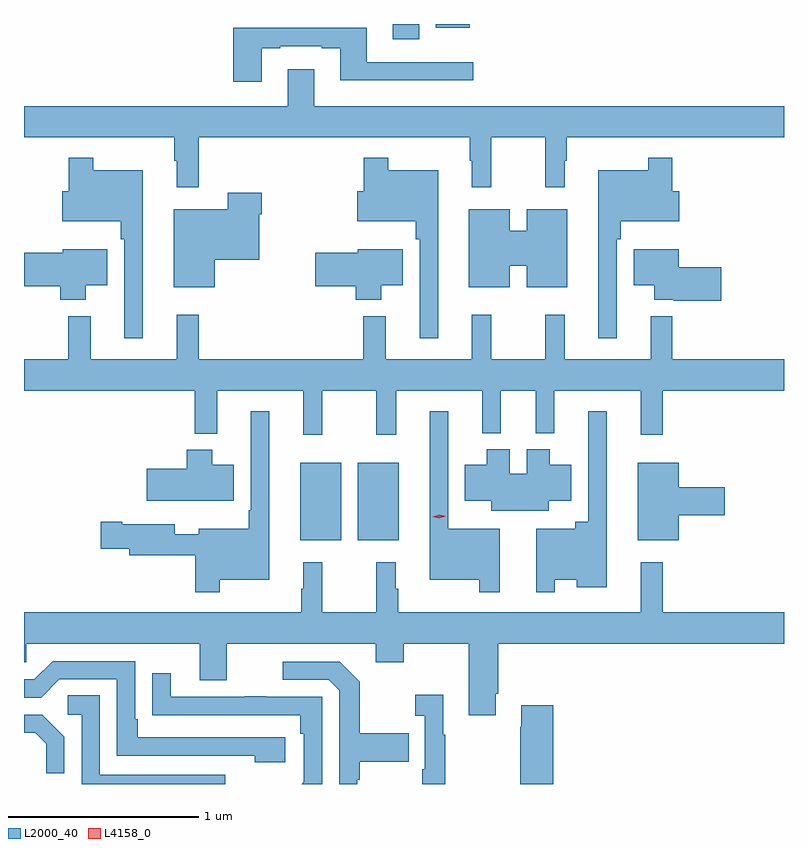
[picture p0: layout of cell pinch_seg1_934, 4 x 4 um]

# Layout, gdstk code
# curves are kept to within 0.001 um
import gdstk
lib = gdstk.Library(unit=1e-6, precision=1e-09)
def R(c, l, rs):  # rectangles x0, y0, x1, y1
    for r in rs: c.add(gdstk.rectangle(r[:2], r[2:], *l))
def P(c, l, *ps):  # polygons
    for p in ps: c.add(gdstk.Polygon(p, *l))
L2000_40 = (2000, 40)
L4158_0 = (4158, 0)

pinch_seg1_934 = lib.new_cell('pinch_seg1_934')
R(pinch_seg1_934, L2000_40, [(161.723,570.923,161.938,571.333), (162.026,570.923,162.241,571.333), (162.209,573.561,162.349,573.641), (162.437,573.62,162.616,573.641)])
P(pinch_seg1_934, L2000_40, [(161.521,573.513),(161.617,573.513),(161.617,573.525),(161.837,573.525),(161.837,573.513),(161.933,573.513),(161.933,573.344),(162.634,573.344),(162.634,573.441),(162.073,573.441),(162.073,573.622),(161.369,573.622),(161.369,573.336),(161.521,573.336)],
  [(161.189,573.044),(162.615,573.044),(162.615,572.921),(162.626,572.921),(162.626,572.781),(162.728,572.781),(162.728,573.044),(163.012,573.044),(163.012,572.781),(163.114,572.781),(163.114,572.921),(163.126,572.921),(163.126,573.044),(164.269,573.044),(164.269,573.208),(161.797,573.208),(161.797,573.403),(161.657,573.403),(161.657,573.208),(160.269,573.208),(160.269,573.044),(161.061,573.044),(161.061,572.921),(161.072,572.921),(161.072,572.781),(161.189,572.781)],
  [(160.894,572.872),(160.633,572.872),(160.633,572.938),(160.504,572.938),(160.504,572.761),(160.47,572.761),(160.47,572.603),(160.777,572.603),(160.777,572.507),(160.797,572.507),(160.797,571.986),(160.894,571.986)],
  [(162.448,572.872),(162.187,572.872),(162.187,572.938),(162.058,572.938),(162.058,572.761),(162.024,572.761),(162.024,572.603),(162.331,572.603),(162.331,572.507),(162.351,572.507),(162.351,571.986),(162.448,571.986)],
  [(163.389,572.507),(163.409,572.507),(163.409,572.603),(163.717,572.603),(163.717,572.761),(163.682,572.761),(163.682,572.938),(163.554,572.938),(163.554,572.872),(163.292,572.872),(163.292,571.986),(163.389,571.986)],
  [(161.272,572.399),(161.506,572.399),(161.506,572.639),(161.519,572.639),(161.519,572.752),(161.341,572.752),(161.341,572.665),(161.057,572.665),(161.057,572.255),(161.272,572.255)],
  [(162.826,572.369),(162.914,572.369),(162.914,572.255),(163.129,572.255),(163.129,572.665),(162.914,572.665),(162.914,572.552),(162.826,572.552),(162.826,572.665),(162.611,572.665),(162.611,572.255),(162.826,572.255)],
  [(163.939,572.36),(163.714,572.36),(163.714,572.455),(163.478,572.455),(163.478,572.267),(163.586,572.267),(163.586,572.189),(163.69,572.189),(163.69,572.184),(163.939,572.184)],
  [(160.594,572.267),(160.708,572.267),(160.708,572.455),(160.472,572.455),(160.472,572.438),(160.269,572.438),(160.269,572.26),(160.46,572.26),(160.46,572.189),(160.594,572.189)],
  [(162.148,572.267),(162.262,572.267),(162.262,572.455),(162.026,572.455),(162.026,572.438),(161.802,572.438),(161.802,572.26),(162.014,572.26),(162.014,572.189),(162.148,572.189)],
  [(161.84,571.712),(162.124,571.712),(162.124,571.479),(162.227,571.479),(162.227,571.712),(162.68,571.712),(162.68,571.487),(162.779,571.487),(162.779,571.712),(162.962,571.712),(162.962,571.487),(163.061,571.487),(163.061,571.712),(163.514,571.712),(163.514,571.479),(163.631,571.479),(163.631,571.712),(164.269,571.712),(164.269,571.876),(163.68,571.876),(163.68,572.104),(163.568,572.104),(163.568,571.876),(163.115,571.876),(163.115,572.11),(163.012,572.11),(163.012,571.876),(162.728,571.876),(162.728,572.11),(162.626,572.11),(162.626,571.876),(162.173,571.876),(162.173,572.104),(162.055,572.104),(162.055,571.876),(161.189,571.876),(161.189,572.11),(161.072,572.11),(161.072,571.876),(160.619,571.876),(160.619,572.104),(160.501,572.104),(160.501,571.876),(160.269,571.876),(160.269,571.712),(161.167,571.712),(161.167,571.484),(161.285,571.484),(161.285,571.712),(161.738,571.712),(161.738,571.479),(161.84,571.479)],
  [(161.299,570.716),(161.56,570.716),(161.56,571.603),(161.463,571.603),(161.463,571.081),(161.451,571.081),(161.451,570.985),(161.189,570.985),(161.189,570.955),(161.062,570.955),(161.062,571.009),(160.786,571.009),(160.786,571.022),(160.674,571.022),(160.674,570.88),(160.823,570.88),(160.823,570.846),(161.17,570.846),(161.17,570.651),(161.299,570.651)],
  [(162.774,570.985),(162.501,570.985),(162.501,571.603),(162.404,571.603),(162.404,570.716),(162.666,570.716),(162.666,570.651),(162.774,570.651)],
  [(163.062,570.716),(163.178,570.716),(163.178,570.677),(163.336,570.677),(163.336,571.603),(163.239,571.603),(163.239,571.021),(163.171,571.021),(163.171,570.985),(162.966,570.985),(162.966,570.651),(163.062,570.651)],
  [(163.03,571.133),(163.15,571.133),(163.15,571.321),(163.036,571.321),(163.036,571.402),(162.914,571.402),(162.914,571.273),(162.826,571.273),(162.826,571.402),(162.704,571.402),(162.704,571.321),(162.59,571.321),(162.59,571.133),(162.728,571.133),(162.728,571.079),(163.03,571.079)],
  [(161.374,571.321),(161.26,571.321),(161.26,571.399),(161.126,571.399),(161.126,571.299),(160.914,571.299),(160.914,571.133),(161.374,571.133)],
  [(163.714,571.055),(163.957,571.055),(163.957,571.202),(163.714,571.202),(163.714,571.333),(163.499,571.333),(163.499,570.923),(163.714,570.923)],
  [(162.238,570.668),(162.226,570.668),(162.226,570.808),(162.124,570.808),(162.124,570.544),(161.84,570.544),(161.84,570.808),(161.738,570.808),(161.738,570.668),(161.727,570.668),(161.727,570.544),(160.269,570.544),(160.269,570.282),(160.281,570.282),(160.281,570.38),(161.195,570.38),(161.195,570.186),(161.335,570.186),(161.335,570.38),(162.119,570.38),(162.119,570.281),(162.267,570.281),(162.267,570.38),(162.611,570.38),(162.611,570.003),(162.751,570.003),(162.751,570.115),(162.764,570.115),(162.764,570.38),(164.269,570.38),(164.269,570.544),(163.631,570.544),(163.631,570.808),(163.514,570.808),(163.514,570.544),(162.238,570.544)],
  [(161.644,569.886),(160.867,569.886),(160.867,569.983),(160.854,569.983),(160.854,570.288),(160.419,570.288),(160.323,570.192),(160.269,570.192),(160.269,570.096),(160.359,570.096),(160.455,570.192),(160.758,570.192),(160.758,569.79),(161.483,569.79),(161.483,569.756),(161.644,569.756)],
  [(162.024,569.663),(162.037,569.663),(162.037,569.759),(162.293,569.759),(162.293,569.907),(162.037,569.907),(162.037,570.179),(161.931,570.285),(161.631,570.285),(161.631,570.189),(161.874,570.189),(161.928,570.135),(161.928,569.641),(162.024,569.641)],
  [(161.838,570.099),(161.543,570.099),(161.543,570.104),(161.431,570.104),(161.431,570.099),(161.041,570.099),(161.041,570.223),(160.945,570.223),(160.945,570.004),(161.722,570.003),(161.722,569.906),(161.742,569.906),(161.742,569.652),(161.731,569.641),(161.838,569.641)],
  [(162.487,569.899),(162.475,569.899),(162.475,570.112),(162.327,570.112),(162.327,569.999),(162.378,569.999),(162.378,569.719),(162.366,569.719),(162.366,569.641),(162.487,569.641)],
  [(161.327,569.691),(160.668,569.691),(160.668,570.107),(160.5,570.107),(160.5,570.006),(160.572,570.006),(160.572,569.641),(161.327,569.641)],
  [(163.055,570.055),(162.887,570.055),(162.887,569.942),(162.88,569.942),(162.88,569.641),(163.055,569.641)],
  [(160.482,569.89),(160.366,570.006),(160.269,570.006),(160.269,569.91),(160.328,569.91),(160.385,569.853),(160.385,569.697),(160.482,569.697)])
P(pinch_seg1_934, L4158_0, [(162.455,571.039),(162.419,571.047),(162.419,571.047),(162.419,571.048),(162.454,571.059),(162.49,571.05),(162.49,571.05),(162.49,571.05)])

lib.write_gds('pinch_seg1_934.gds')
